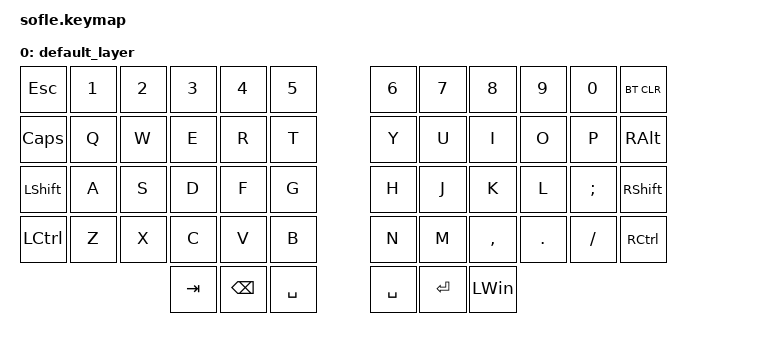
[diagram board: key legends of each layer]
/*
 * Copyright (c) 2020 The ZMK Contributors
 *
 * SPDX-License-Identifier: MIT
 */

#include <behaviors/mouse_keys.dtsi>
#include <behaviors.dtsi>
#include <dt-bindings/zmk/bt.h>
#include <dt-bindings/zmk/ext_power.h>
#include <dt-bindings/zmk/keys.h>
#include <dt-bindings/zmk/mouse.h>

#define DEF 0;
#define UPE 1;
#define MSC 2;



&msc { acceleration-exponent = <1>; };

/ {
    macros {
        nha: nha {
            compatible = "zmk,behavior-macro";
            label = "NHA";
            #binding-cells = <0>;
            bindings = <&kp TILDE &kp A>;
        };

        nho: nho {
            compatible = "zmk,behavior-macro";
            label = "NHO";
            #binding-cells = <0>;
            bindings = <&kp TILDE &kp O>;
        };

        adpin: adpin {
            compatible = "zmk,behavior-macro";
            label = "ADPIN";
            #binding-cells = <0>;
            bindings = <&kp N7 &kp N9 &kp N4 &kp N5 &kp N1 &kp N7>;
        };
    };

    behaviors {
        scroll_encoder: scroll_encoder {
            label = "SCROLL_ENCODER";
            compatible = "zmk,behavior-sensor-rotate";
            #sensor-binding-cells = <0>;
            bindings = <&msc MOVE_UP>, <&msc MOVE_DOWN>;

            tap-ms = <50>;
        };

        rc_lt: right_click_layer_tap {
            compatible = "zmk,behavior-hold-tap";
            #binding-cells = <2>;
            flavor = "hold-preferred";
            tapping-term-ms = <200>;
            bindings = <&mo>, <&mkp>;
        };
    };
};
/ {
    keymap {
        compatible = "zmk,keymap";

        default_layer {
            bindings = <
                &kp ESC      &kp N1     &kp N2     &kp N3     &kp N4     &kp N5                   &kp N6     &kp N7     &kp N8     &kp N9     &kp N0     &bt BT_CLR
                &kp CAPSLOCK &kp Q      &kp W      &kp E      &kp R      &kp T                    &kp Y      &kp U      &kp I      &kp O      &kp P      &kp RALT
                &kp LSHIFT   &kp A      &kp S      &kp D      &kp F      &kp G                    &kp H      &kp J      &kp K      &kp L      &kp SEMI   &kp RSHIFT
                &kp LCTRL    &kp Z      &kp X      &kp C      &kp V      &kp B                    &kp N      &kp M      &kp COMMA  &kp DOT    &kp SLASH  &kp RCTRL
                                                   &kp TAB    &kp BSPC   &kp SPACE                &kp SPACE   &kp ENTER &kp LEFT_WIN
            >;
        };
    };
};
